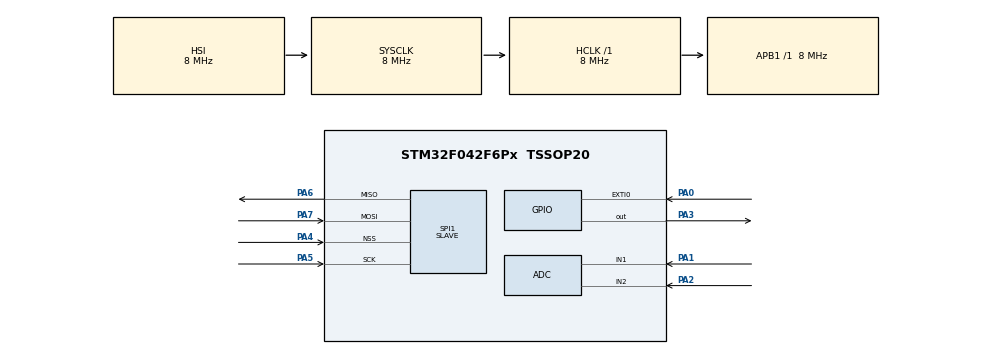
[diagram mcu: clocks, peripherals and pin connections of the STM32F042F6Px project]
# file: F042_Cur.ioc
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ADC.DMAContinuousRequests=ENABLE
ADC.ExternalTrigConv=ADC_EXTERNALTRIGCONV_T1_TRGO
ADC.SamplingTime=ADC_SAMPLETIME_13CYCLES_5
Dma.ADC.0.Direction=DMA_PERIPH_TO_MEMORY
Dma.ADC.0.Instance=DMA1_Channel1
Dma.ADC.0.MemDataAlignment=DMA_MDATAALIGN_HALFWORD
Dma.ADC.0.MemInc=DMA_MINC_ENABLE
Dma.ADC.0.Mode=DMA_CIRCULAR
Dma.ADC.0.PeriphDataAlignment=DMA_PDATAALIGN_HALFWORD
Dma.ADC.0.PeriphInc=DMA_PINC_DISABLE
Dma.ADC.0.Priority=DMA_PRIORITY_LOW
Dma.Request0=ADC
Dma.Request1=SPI1_RX
Dma.Request2=SPI1_TX
Dma.SPI1_RX.1.Direction=DMA_PERIPH_TO_MEMORY
Dma.SPI1_RX.1.Instance=DMA1_Channel2
Dma.SPI1_RX.1.MemDataAlignment=DMA_MDATAALIGN_BYTE
Dma.SPI1_RX.1.MemInc=DMA_MINC_ENABLE
Dma.SPI1_RX.1.Mode=DMA_NORMAL
Dma.SPI1_RX.1.PeriphDataAlignment=DMA_PDATAALIGN_BYTE
Dma.SPI1_RX.1.PeriphInc=DMA_PINC_DISABLE
Dma.SPI1_RX.1.Priority=DMA_PRIORITY_LOW
Dma.SPI1_TX.2.Direction=DMA_MEMORY_TO_PERIPH
Dma.SPI1_TX.2.Instance=DMA1_Channel3
Dma.SPI1_TX.2.MemDataAlignment=DMA_MDATAALIGN_BYTE
Dma.SPI1_TX.2.MemInc=DMA_MINC_ENABLE
Dma.SPI1_TX.2.Mode=DMA_NORMAL
Dma.SPI1_TX.2.PeriphDataAlignment=DMA_PDATAALIGN_BYTE
Dma.SPI1_TX.2.PeriphInc=DMA_PINC_DISABLE
Dma.SPI1_TX.2.Priority=DMA_PRIORITY_LOW
Mcu.Family=STM32F0
Mcu.Name=STM32F042F6Px
Mcu.Package=TSSOP20
NVIC.DMA1_Channel1_IRQn=true\:0\:0\:false\:false\:true\:false\:true
NVIC.DMA1_Channel2_3_IRQn=true\:0\:0\:false\:false\:true\:false\:true
NVIC.EXTI0_1_IRQn=true\:0\:0\:false\:false\:true\:true\:true
NVIC.SPI1_IRQn=true\:0\:0\:false\:false\:true\:true\:true
PA0.GPIO_ModeDefaultEXTI=GPIO_MODE_IT_FALLING
PA0.Signal=GPXTI0
PA1.Mode=IN1
PA1.Signal=ADC_IN1
PA13.Mode=Serial_Wire
PA13.Signal=SYS_SWDIO
PA14.Mode=Serial_Wire
PA14.Signal=SYS_SWCLK
PA2.Mode=IN2
PA2.Signal=ADC_IN2
PA3.PinState=GPIO_PIN_SET
PA3.Signal=GPIO_Output
PA4.Mode=NSS_Signal_Hard_Input
PA4.Signal=SPI1_NSS
PA5.Mode=Full_Duplex_Slave
PA5.Signal=SPI1_SCK
PA6.Mode=Full_Duplex_Slave
PA6.Signal=SPI1_MISO
PA7.Mode=Full_Duplex_Slave
PA7.Signal=SPI1_MOSI
ProjectManager.HeapSize=0x200
ProjectManager.StackSize=0x400
ProjectManager.TargetToolchain=STM32CubeIDE
RCC.AHBFreq_Value=8000000
RCC.APB1Freq_Value=8000000
RCC.APB1TimFreq_Value=8000000
RCC.HCLKFreq_Value=8000000
RCC.HSE_Timout=300
RCC.SYSCLKFreq_VALUE=8000000
SPI1.DataSize=SPI_DATASIZE_8BIT
SPI1.Direction=SPI_DIRECTION_2LINES
SPI1.Mode=SPI_MODE_SLAVE
SPI1.VirtualNSS=VM_NSSHARD
SPI1.VirtualType=VM_SLAVE
TIM1.Period=31
TIM1.Prescaler=99
TIM1.TIM_MasterOutputTrigger=TIM_TRGO_UPDATE
TIM1.TIM_MasterSlaveMode=TIM_MASTERSLAVEMODE_ENABLE
TIM3.Period=3
TIM3.Prescaler=9
VP_TIM1_VS_ClockSourceINT.Mode=Internal
VP_TIM3_VS_ClockSourceINT.Mode=Internal
board=custom

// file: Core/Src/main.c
/* USER CODE BEGIN Header */
/**
  ******************************************************************************
  * @file           : main.c
  * @brief          : Main program body
  ******************************************************************************
  * @attention
  *
  * <h2><center>&copy; Copyright (c) 2026 STMicroelectronics.
  * All rights reserved.</center></h2>
  *
  * This software component is licensed by ST under BSD 3-Clause license,
  * the "License"; You may not use this file except in compliance with the
  * License. You may obtain a copy of the License at:
  *                        opensource.org/licenses/BSD-3-Clause
  *
  ******************************************************************************
  */
/* USER CODE END Header */
#include "main.h"

/* USER CODE BEGIN Includes */
#include <stdio.h>
#include <string.h>
#include <stdbool.h>
/* USER CODE END Includes */

/* USER CODE BEGIN PTD */
#define RING_SIZE        256
#define FRAME_SAMPLES   50
#define FRAME_BYTES     (1 + FRAME_SAMPLES * 2)
uint16_t adc_dma_buf[10];
/* ring buffer ADC */
volatile uint16_t ring[RING_SIZE];
volatile uint16_t head = 0;
volatile uint16_t tail = 0;
volatile uint16_t ring_count = 0;

/* SPI buffers (8-bit) */

uint8_t rx[FRAME_BYTES];
uint8_t tx[FRAME_BYTES];

volatile uint32_t ring_overwrite = 0;

uint16_t s;			// variable for data
volatile uint8_t flag = 0;	// variable for preload tx SPI first
uint8_t itr =0;
uint8_t yes=0;
uint8_t no=0;
uint8_t trigg = 0;
/* USER CODE END PTD */

ADC_HandleTypeDef hadc;
DMA_HandleTypeDef hdma_adc;

SPI_HandleTypeDef hspi1;
DMA_HandleTypeDef hdma_spi1_rx;
DMA_HandleTypeDef hdma_spi1_tx;

TIM_HandleTypeDef htim1;
TIM_HandleTypeDef htim3;

void SystemClock_Config(void);
static void MX_GPIO_Init(void);
static void MX_DMA_Init(void);
static void MX_ADC_Init(void);
static void MX_SPI1_Init(void);
static void MX_TIM1_Init(void);
static void MX_TIM3_Init(void);

/* USER CODE BEGIN 0 */

// ====== Init for Timer Trigger ADC ====== //
void HAL_GPIO_EXTI_Callback(uint16_t GPIO_Pin)
{
  /* Prevent unused argument(s) compilation warning */
  UNUSED(GPIO_Pin);
  if(GPIO_Pin == GPIO_PIN_0)
  {
	  trigg++;
	  if (trigg % 2 != 0)
	  {
		  head = 0;
		  tail = 0;
		  ring_count = 0;
		  // 1. Xóa cờ lỗi Overrun (OVR) phần cứng bằng Macro của HAL
		  __HAL_SPI_CLEAR_OVRFLAG(&hspi1);

		  // 2. Ép trạng thái phần mềm HAL về READY phòng trường hợp thư viện bị kẹt cờ ERROR
		  hspi1.State = HAL_SPI_STATE_READY;
		  // -------------------------------------------------

		  HAL_ADC_Start_DMA(&hadc, (uint32_t*)adc_dma_buf, 1);
		  HAL_TIM_Base_Start(&htim1);
	  }
	  else
	  {
		  HAL_TIM_Base_Stop(&htim1);
		  HAL_ADC_Stop_DMA(&hadc);
		  // Đảm bảo dừng SPI DMA để reset các cờ trạng thái
		  HAL_SPI_DMAStop(&hspi1);
		  tx[0] = 0;
		  tx[1] = 0;
		  HAL_SPI_TransmitReceive_DMA(&hspi1, tx, rx, 2);
	  }
  }
}

// ===== Ring buffer for data ===== //
static inline void ring_push(uint16_t sample)
{
    uint16_t next = head + 1;
    if (next >= RING_SIZE) next = 0;

    ring[head] = sample;
    head = next;

    if (ring_count < RING_SIZE)
    {
        ring_count++;
    }
    else
    {
        tail++;
        if (tail >= RING_SIZE)
        {
        	tail = 0;
        	ring_overwrite++;
        }
    }
}

static inline bool ring_pop(uint16_t *out)
{
    if (ring_count == 0) return false;
    *out = ring[tail];
    tail++;
    if (tail >= RING_SIZE) tail = 0;
    ring_count--;
    return true;
}

// ===== ADC callback every sample ===== //
void HAL_ADC_ConvCpltCallback(ADC_HandleTypeDef* hadc)
{
	ring_push(adc_dma_buf[0]);
	// preload first sample for SPI
	if (HAL_SPI_GetState(&hspi1) == HAL_SPI_STATE_READY) {
	    // Thực hiện nạp DMA
		ring_pop(&s);
		tx[0] = (uint8_t)(s & 0xFF);
		tx[1] = (uint8_t)(s >> 8);
		HAL_SPI_TransmitReceive_DMA(&hspi1, tx, rx, 2);

		//HAL_GPIO_WritePin(GPIOA, GPIO_PIN_2, 0);
		//HAL_TIM_Base_Start_IT(&htim3);
	}

	// interrupt for data ready
	itr++;

}

//void HAL_TIM_PeriodElapsedCallback(TIM_HandleTypeDef *htim)
//{
//	HAL_GPIO_WritePin(GPIOA, GPIO_PIN_2, 1);
//	HAL_TIM_Base_Stop_IT(&htim3);
//}

void Switch_ADC_Gain_Channel(uint8_t cmd) {
    ADC_ChannelConfTypeDef sConfig = {0};

    // 1. Dừng ADC để cấu hình lại an toàn
    HAL_ADC_Stop_DMA(&hadc);

    // 2. QUAN TRỌNG: Xóa sạch các kênh đã chọn trước đó trong thanh ghi CHSELR
    // Nếu không có dòng này, ADC sẽ quét cả kênh cũ và kênh mới
    hadc.Instance->CHSELR = 0;

    // 3. Thiết lập thông số chung
    sConfig.Rank = ADC_RANK_CHANNEL_NUMBER;
    sConfig.SamplingTime = ADC_SAMPLETIME_13CYCLES_5;

    // 4. Chọn kênh dựa trên cmd từ SPI
    if (cmd == 1) {
        sConfig.Channel = ADC_CHANNEL_1;
    } else if (cmd == 2) {
        sConfig.Channel = ADC_CHANNEL_2;
    } else {
        return; // Lệnh không hợp lệ thì thoát
    }

    // 5. Cấu hình kênh vào ADC
    if (HAL_ADC_ConfigChannel(&hadc, &sConfig) != HAL_OK) {
        Error_Handler();
    }

}
// ===== SPI callback after transmitting ===== //
void HAL_SPI_TxRxCpltCallback(SPI_HandleTypeDef *hspi)
{
	if (hspi->Instance == SPI1)
	{
		// Giả sử byte đầu tiên trong mảng nhận là lệnh cmd
		uint8_t cmd = rx[0];

		if (cmd == 1 || cmd ==2 )
		{
			// Gọi hàm chuyển kênh
			Switch_ADC_Gain_Channel(cmd);
			flag = 1;
		}

	}

//
//	 HAL_GPIO_WritePin(GPIOA, GPIO_PIN_2, 0);
//	 HAL_TIM_Base_Start_IT(&htim3);

}

/* USER CODE END 0 */

int main(void)
{

  /* MCU Configuration--------------------------------------------------------*/

  /* Reset of all peripherals, Initializes the Flash interface and the Systick. */
  HAL_Init();

  /* Configure the system clock */
  SystemClock_Config();

  /* Initialize all configured peripherals */
  MX_GPIO_Init();
  MX_DMA_Init();
  MX_ADC_Init();
  MX_SPI1_Init();
  MX_TIM1_Init();
  MX_TIM3_Init();
  /* USER CODE BEGIN 2 */
  HAL_SPI_TransmitReceive_DMA(&hspi1, tx, rx, 2);
  /* USER CODE END 2 */

  /* Infinite loop */
  /* USER CODE BEGIN WHILE */
  while (1)
  {
	  //HAL_GPIO_WritePin(GPIOA, GPIO_PIN_3, 1);
    /* USER CODE END WHILE */

  }
}

void SystemClock_Config(void)
{
  RCC_OscInitTypeDef RCC_OscInitStruct = {0};
  RCC_ClkInitTypeDef RCC_ClkInitStruct = {0};

  /** Initializes the RCC Oscillators according to the specified parameters
  * in the RCC_OscInitTypeDef structure.
  */
  RCC_OscInitStruct.OscillatorType = RCC_OSCILLATORTYPE_HSI|RCC_OSCILLATORTYPE_HSI14;
  RCC_OscInitStruct.HSIState = RCC_HSI_ON;
  RCC_OscInitStruct.HSI14State = RCC_HSI14_ON;
  RCC_OscInitStruct.HSICalibrationValue = RCC_HSICALIBRATION_DEFAULT;
  RCC_OscInitStruct.HSI14CalibrationValue = 16;
  RCC_OscInitStruct.PLL.PLLState = RCC_PLL_NONE;
  if (HAL_RCC_OscConfig(&RCC_OscInitStruct) != HAL_OK)
  {
    Error_Handler();
  }
  /** Initializes the CPU, AHB and APB buses clocks
  */
  RCC_ClkInitStruct.ClockType = RCC_CLOCKTYPE_HCLK|RCC_CLOCKTYPE_SYSCLK
                              |RCC_CLOCKTYPE_PCLK1;
  RCC_ClkInitStruct.SYSCLKSource = RCC_SYSCLKSOURCE_HSI;
  RCC_ClkInitStruct.AHBCLKDivider = RCC_SYSCLK_DIV1;
  RCC_ClkInitStruct.APB1CLKDivider = RCC_HCLK_DIV1;

  if (HAL_RCC_ClockConfig(&RCC_ClkInitStruct, FLASH_LATENCY_0) != HAL_OK)
  {
    Error_Handler();
  }
}

static void MX_ADC_Init(void)
{

  ADC_ChannelConfTypeDef sConfig = {0};

  /** Configure the global features of the ADC (Clock, Resolution, Data Alignment and number of conversion)
  */
  hadc.Instance = ADC1;
  hadc.Init.ClockPrescaler = ADC_CLOCK_ASYNC_DIV1;
  hadc.Init.Resolution = ADC_RESOLUTION_12B;
  hadc.Init.DataAlign = ADC_DATAALIGN_RIGHT;
  hadc.Init.ScanConvMode = ADC_SCAN_DIRECTION_FORWARD;
  hadc.Init.EOCSelection = ADC_EOC_SINGLE_CONV;
  hadc.Init.LowPowerAutoWait = DISABLE;
  hadc.Init.LowPowerAutoPowerOff = DISABLE;
  hadc.Init.ContinuousConvMode = DISABLE;
  hadc.Init.DiscontinuousConvMode = DISABLE;
  hadc.Init.ExternalTrigConv = ADC_EXTERNALTRIGCONV_T1_TRGO;
  hadc.Init.ExternalTrigConvEdge = ADC_EXTERNALTRIGCONVEDGE_RISING;
  hadc.Init.DMAContinuousRequests = ENABLE;
  hadc.Init.Overrun = ADC_OVR_DATA_PRESERVED;
  if (HAL_ADC_Init(&hadc) != HAL_OK)
  {
    Error_Handler();
  }
  /** Configure for the selected ADC regular channel to be converted.
  */
//  sConfig.Channel = ADC_CHANNEL_1;
//  sConfig.Rank = ADC_RANK_CHANNEL_NUMBER;
//  sConfig.SamplingTime = ADC_SAMPLETIME_13CYCLES_5;
//  if (HAL_ADC_ConfigChannel(&hadc, &sConfig) != HAL_OK)
//  {
//    Error_Handler();
//  }
//  /** Configure for the selected ADC regular channel to be converted.
//  */
//  sConfig.Channel = ADC_CHANNEL_2;
//  if (HAL_ADC_ConfigChannel(&hadc, &sConfig) != HAL_OK)
//  {
//    Error_Handler();
//  }

}

static void MX_SPI1_Init(void)
{

  /* SPI1 parameter configuration*/
  hspi1.Instance = SPI1;
  hspi1.Init.Mode = SPI_MODE_SLAVE;
  hspi1.Init.Direction = SPI_DIRECTION_2LINES;
  hspi1.Init.DataSize = SPI_DATASIZE_8BIT;
  hspi1.Init.CLKPolarity = SPI_POLARITY_LOW;
  hspi1.Init.CLKPhase = SPI_PHASE_1EDGE;
  hspi1.Init.NSS = SPI_NSS_HARD_INPUT;
  hspi1.Init.FirstBit = SPI_FIRSTBIT_MSB;
  hspi1.Init.TIMode = SPI_TIMODE_DISABLE;
  hspi1.Init.CRCCalculation = SPI_CRCCALCULATION_DISABLE;
  hspi1.Init.CRCPolynomial = 7;
  hspi1.Init.CRCLength = SPI_CRC_LENGTH_DATASIZE;
  hspi1.Init.NSSPMode = SPI_NSS_PULSE_DISABLE;
  if (HAL_SPI_Init(&hspi1) != HAL_OK)
  {
    Error_Handler();
  }

}

static void MX_TIM1_Init(void)
{

  TIM_ClockConfigTypeDef sClockSourceConfig = {0};
  TIM_MasterConfigTypeDef sMasterConfig = {0};

  htim1.Instance = TIM1;
  htim1.Init.Prescaler = 99;
  htim1.Init.CounterMode = TIM_COUNTERMODE_UP;
  htim1.Init.Period = 31;
  htim1.Init.ClockDivision = TIM_CLOCKDIVISION_DIV1;
  htim1.Init.RepetitionCounter = 0;
  htim1.Init.AutoReloadPreload = TIM_AUTORELOAD_PRELOAD_DISABLE;
  if (HAL_TIM_Base_Init(&htim1) != HAL_OK)
  {
    Error_Handler();
  }
  sClockSourceConfig.ClockSource = TIM_CLOCKSOURCE_INTERNAL;
  if (HAL_TIM_ConfigClockSource(&htim1, &sClockSourceConfig) != HAL_OK)
  {
    Error_Handler();
  }
  sMasterConfig.MasterOutputTrigger = TIM_TRGO_UPDATE;
  sMasterConfig.MasterSlaveMode = TIM_MASTERSLAVEMODE_ENABLE;
  if (HAL_TIMEx_MasterConfigSynchronization(&htim1, &sMasterConfig) != HAL_OK)
  {
    Error_Handler();
  }

}

static void MX_TIM3_Init(void)
{

  TIM_ClockConfigTypeDef sClockSourceConfig = {0};
  TIM_MasterConfigTypeDef sMasterConfig = {0};

  htim3.Instance = TIM3;
  htim3.Init.Prescaler = 9;
  htim3.Init.CounterMode = TIM_COUNTERMODE_UP;
  htim3.Init.Period = 3;
  htim3.Init.ClockDivision = TIM_CLOCKDIVISION_DIV1;
  htim3.Init.AutoReloadPreload = TIM_AUTORELOAD_PRELOAD_DISABLE;
  if (HAL_TIM_Base_Init(&htim3) != HAL_OK)
  {
    Error_Handler();
  }
  sClockSourceConfig.ClockSource = TIM_CLOCKSOURCE_INTERNAL;
  if (HAL_TIM_ConfigClockSource(&htim3, &sClockSourceConfig) != HAL_OK)
  {
    Error_Handler();
  }
  sMasterConfig.MasterOutputTrigger = TIM_TRGO_RESET;
  sMasterConfig.MasterSlaveMode = TIM_MASTERSLAVEMODE_DISABLE;
  if (HAL_TIMEx_MasterConfigSynchronization(&htim3, &sMasterConfig) != HAL_OK)
  {
    Error_Handler();
  }

}

static void MX_DMA_Init(void)
{

  /* DMA controller clock enable */
  __HAL_RCC_DMA1_CLK_ENABLE();

  /* DMA interrupt init */
  /* DMA1_Channel1_IRQn interrupt configuration */
  HAL_NVIC_SetPriority(DMA1_Channel1_IRQn, 0, 0);
  HAL_NVIC_EnableIRQ(DMA1_Channel1_IRQn);
  /* DMA1_Channel2_3_IRQn interrupt configuration */
  HAL_NVIC_SetPriority(DMA1_Channel2_3_IRQn, 0, 0);
  HAL_NVIC_EnableIRQ(DMA1_Channel2_3_IRQn);

}

static void MX_GPIO_Init(void)
{
  GPIO_InitTypeDef GPIO_InitStruct = {0};

  /* GPIO Ports Clock Enable */
  __HAL_RCC_GPIOA_CLK_ENABLE();

  /*Configure GPIO pin Output Level */
  HAL_GPIO_WritePin(GPIOA, GPIO_PIN_3, GPIO_PIN_SET);

  /*Configure GPIO pin : PA0 */
  GPIO_InitStruct.Pin = GPIO_PIN_0;
  GPIO_InitStruct.Mode = GPIO_MODE_IT_FALLING;
  GPIO_InitStruct.Pull = GPIO_NOPULL;
  HAL_GPIO_Init(GPIOA, &GPIO_InitStruct);

  /*Configure GPIO pin : PA3 */
  GPIO_InitStruct.Pin = GPIO_PIN_3;
  GPIO_InitStruct.Mode = GPIO_MODE_OUTPUT_PP;
  GPIO_InitStruct.Pull = GPIO_NOPULL;
  GPIO_InitStruct.Speed = GPIO_SPEED_FREQ_LOW;
  HAL_GPIO_Init(GPIOA, &GPIO_InitStruct);

  /* EXTI interrupt init*/
  HAL_NVIC_SetPriority(EXTI0_1_IRQn, 0, 0);
  HAL_NVIC_EnableIRQ(EXTI0_1_IRQn);

}

void Error_Handler(void)
{
  __disable_irq();
  while (1)
  {
  }
}

/************************ (C) COPYRIGHT STMicroelectronics *****END OF FILE****/
